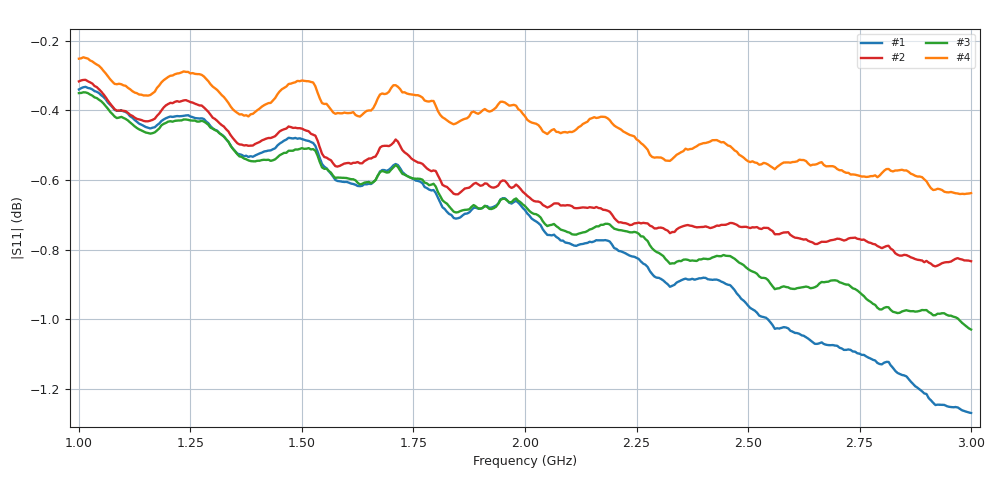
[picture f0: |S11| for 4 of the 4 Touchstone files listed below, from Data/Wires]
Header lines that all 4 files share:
! Ref Plane: 0.000 mm
# MHZ S MA R  50
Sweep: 1 GHz to 3 GHz
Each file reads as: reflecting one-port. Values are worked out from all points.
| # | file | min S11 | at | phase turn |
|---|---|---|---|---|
| 1 | SN52934P_phase.s1p | -1.3 dB | 3 GHz | -3029 deg |
| 2 | SN52984P_phase.s1p | -0.8 dB | 2.92 GHz | -3019 deg |
| 3 | SN52994P_phase.s1p | -1.0 dB | 3 GHz | -3031 deg |
| 4 | SN368354P_phase.s1p | -0.6 dB | 2.985 GHz | -3045 deg |
